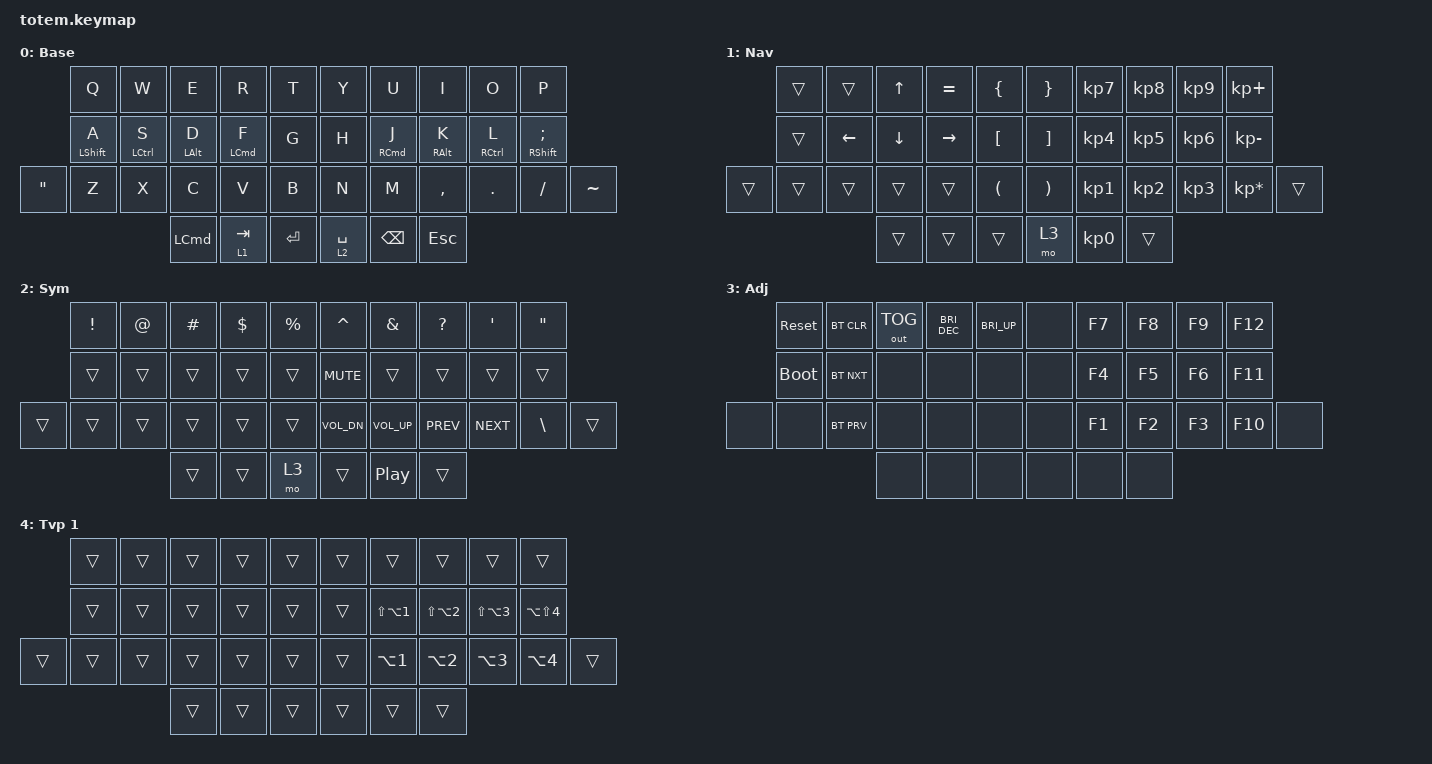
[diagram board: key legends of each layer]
//
//                                                        ▀▀▀▀▀     ▀▀▀▀▀          ▀▀█▀▀
//                                                        ▄▀▀▀▄  ▄  ▄▀▀▀▄  ▄  ▄▀▀▀▄  █  ▄▀▀▀▄
//                                                        █   █  █  █   █  █  █   █  █  █   █
//                                                         ▀▀▀   █   ▀▀▀   █   ▀▀▀   ▀   ▀▀▀
//                                                               █      ▄▄▄█▄▄▄    █   █
//                                                               ▀      █  █  █     █▄█
//                                                             ▀▀▀▀▀    █  █  █      ▀
//                                                                      ▀  ▀  ▀
//
// ▄▄▄▄▄▄▄▄▄▄▄▄▄▄▄▄▄▄▄▄▄▄▄▄▄▄▄▄▄▄▄▄▄▄▄▄▄▄▄▄▄▄▄▄▄▄▄▄▄▄▄▄▄▄▄▄▄▄▄▄▄▄▄▄▄▄▄▄▄▄▄▄▄▄▄▄▄▄▄▄▄▄▄▄▄▄▄▄▄▄▄▄▄▄▄▄▄▄▄▄▄▄▄▄▄▄▄▄▄▄▄▄▄▄▄▄▄▄▄▄▄▄▄▄▄▄▄▄▄▄▄▄▄▄▄▄▄▄▄▄▄▄▄▄▄▄▄▄▄

#include <behaviors.dtsi>
#include <dt-bindings/zmk/bt.h>
#include <dt-bindings/zmk/keys.h>
#include <dt-bindings/zmk/outputs.h>

#define BASE 0
#define NAV  1
#define SYM  2
#define ADJ  3
#define TVP1 4
#define TVP2 5

&mt {
    quick-tap-ms = <170>;
    global-quick-tap;
    flavor = "balanced";
    tapping-term-ms = <280>;
    require-prior-idle-ms = <150>;
};

/ {
    combos {
        compatible = "zmk,combos";

        combo_esc {
            timeout-ms = <50>;
            key-positions = <0 1>;
            bindings = <&kp ESC>;
        };

        combo_tvp {
            timeout-ms = <100>;
            key-positions = <11 12 13>;
            bindings = <&tog 4>;
        };
    };

    macros {
        gif: gif {
            label = "giphy";
            compatible = "zmk,behavior-macro";
            #binding-cells = <0>;
            bindings =
                <&macro_press>,
                <&kp LSHFT>,
                <&macro_tap>,
                <&kp N2>,
                <&macro_release>,
                <&kp LSHFT>,
                <&macro_tap>,
                <&kp G &kp I &kp F>;
        };
    };

    keymap {
        compatible = "zmk,keymap";

        // ▄▄▄▄▄▄▄▄▄▄▄▄▄▄▄▄▄▄▄▄▄▄▄▄▄▄▄▄▄▄▄▄▄▄▄▄▄▄▄▄▄▄▄▄▄▄▄▄▄▄▄▄▄▄▄▄▄▄▄▄▄▄▄▄▄▄▄▄▄▄▄▄▄▄▄▄▄▄▄▄▄▄▄▄▄▄▄▄▄▄▄▄▄▄▄▄▄▄▄▄▄▄▄▄▄▄▄▄▄▄▄▄▄▄▄▄▄▄▄▄▄▄▄▄▄▄▄▄▄▄▄▄▄▄▄▄▄▄▄▄▄▄▄▄▄▄▄▄▄

        base_layer {
            // ┏━━━━━━━━━━━━━━━━━━━━━━━━━━━━━━━━━━━━━━━┓

            label = "BASE";
            display-name = "Base";

            // ┗━━━━━━━━━━━━━━━━━━━━━━━━━━━━━━━━━━━━━━━┛
            //             ┏━━━━━━━━━━━┳━━━━━━━━━━━┳━━━━━━━━━━━┳━━━━━━━━━━━┳━━━━━━━━━━━┓   ┏━━━━━━━━━━━┳━━━━━━━━━━━┳━━━━━━━━━━━┳━━━━━━━━━━━┳━━━━━━━━━━━┓
            //             ┃     Q     ┃     W     ┃     F     ┃     P     ┃     G     ┃   ┃     J     ┃     L     ┃     U     ┃     Y     ┃     ;     ┃
            //             ┣━━━━━━━━━━━╋━━━━━━━━━━━╋━━━━━━━━━━━╋━━━━━━━━━━━╋━━━━━━━━━━━┫   ┣━━━━━━━━━━━╋━━━━━━━━━━━╋━━━━━━━━━━━╋━━━━━━━━━━━╋━━━━━━━━━━━┫
            //             ┃     A     ┃     R     ┃     S     ┃     T     ┃     D     ┃   ┃     H     ┃     N     ┃     E     ┃     I     ┃     O     ┃
            // ┏━━━━━━━━━━━╋━━━━━━━━━━━╋━━━━━━━━━━━╋━━━━━━━━━━━╋━━━━━━━━━━━╋━━━━━━━━━━━┫   ┣━━━━━━━━━━━╋━━━━━━━━━━━╋━━━━━━━━━━━╋━━━━━━━━━━━╋━━━━━━━━━━━╋━━━━━━━━━━━┓
            // ┃     Q     ┃     Z     ┃     X     ┃     C     ┃     V     ┃     B     ┃   ┃     K     ┃     M     ┃     ,     ┃     .     ┃     /     ┃     \     ┃
            // ┗━━━━━━━━━━━┻━━━━━━━━━━━┻━━━━━━━━━━━╋━━━━━━━━━━━╋━━━━━━━━━━━╋━━━━━━━━━━━┫   ┣━━━━━━━━━━━╋━━━━━━━━━━━╋━━━━━━━━━━━╋━━━━━━━━━━━┻━━━━━━━━━━━┻━━━━━━━━━━━┛
            //                                     ┃    DEL    ┃    TAB    ┃    SPC    ┃   ┃   ENTER   ┃           ┃   BSPC    ┃
            //                                     ┗━━━━━━━━━━━┻━━━━━━━━━━━┻━━━━━━━━━━━┛   ┗━━━━━━━━━━━┻━━━━━━━━━━━┻━━━━━━━━━━━┛

            bindings = <
                   &kp Q             &kp W               &kp E             &kp R               &kp T        &kp Y        &kp U                &kp I            &kp O                &kp P
                   &mt LEFT_SHIFT A  &mt LEFT_CONTROL S  &mt LEFT_ALT D    &mt LEFT_COMMAND F  &kp G        &kp H        &mt RIGHT_COMMAND J  &mt RIGHT_ALT K  &mt RIGHT_CONTROL L  &mt RIGHT_SHIFT SEMI
&kp DOUBLE_QUOTES  &kp Z             &kp X               &kp C             &kp V               &kp B        &kp N        &kp M                &kp COMMA        &kp DOT              &kp SLASH             &kp TILDE
                                                         &kp LEFT_COMMAND  &lt 1 TAB           &kp ENTER    &lt 2 SPACE  &kp BACKSPACE        &kp ESCAPE
            >;
        };

        // ▄▄▄▄▄▄▄▄▄▄▄▄▄▄▄▄▄▄▄▄▄▄▄▄▄▄▄▄▄▄▄▄▄▄▄▄▄▄▄▄▄▄▄▄▄▄▄▄▄▄▄▄▄▄▄▄▄▄▄▄▄▄▄▄▄▄▄▄▄▄▄▄▄▄▄▄▄▄▄▄▄▄▄▄▄▄▄▄▄▄▄▄▄▄▄▄▄▄▄▄▄▄▄▄▄▄▄▄▄▄▄▄▄▄▄▄▄▄▄▄▄▄▄▄▄▄▄▄▄▄▄▄▄▄▄▄▄▄▄▄▄▄▄▄▄▄▄▄▄

        nav_layer {
            // ┏━━━━━━━━━━━━━━━━━━━━━━━━━━━━━━━━━━━━━━━┓

            label = "NAVI";
            display-name = "Nav";

            // ┗━━━━━━━━━━━━━━━━━━━━━━━━━━━━━━━━━━━━━━━┛
            //             ┏━━━━━━━━━━━┳━━━━━━━━━━━┳━━━━━━━━━━━┳━━━━━━━━━━━┳━━━━━━━━━━━┓   ┏━━━━━━━━━━━┳━━━━━━━━━━━┳━━━━━━━━━━━┳━━━━━━━━━━━┳━━━━━━━━━━━┓
            //             ┃           ┃           ┃     UP    ┃           ┃     {     ┃   ┃     }     ┃     7     ┃     8     ┃     9     ┃     +     ┃
            //             ┣━━━━━━━━━━━╋━━━━━━━━━━━╋━━━━━━━━━━━╋━━━━━━━━━━━╋━━━━━━━━━━━┫   ┣━━━━━━━━━━━╋━━━━━━━━━━━╋━━━━━━━━━━━╋━━━━━━━━━━━╋━━━━━━━━━━━┫
            //             ┃   SHIFT   ┃   LEFT    ┃    DOWN   ┃   RIGHT   ┃     [     ┃   ┃     ]     ┃     4     ┃     5     ┃     6     ┃     -     ┃
            // ┏━━━━━━━━━━━╋━━━━━━━━━━━╋━━━━━━━━━━━╋━━━━━━━━━━━╋━━━━━━━━━━━╋━━━━━━━━━━━┫   ┣━━━━━━━━━━━╋━━━━━━━━━━━╋━━━━━━━━━━━╋━━━━━━━━━━━╋━━━━━━━━━━━╋━━━━━━━━━━━┓
            // ┃           ┃           ┃   P UP    ┃  C LOCK   ┃  P DOWN   ┃     (     ┃   ┃     )     ┃     1     ┃     2     ┃     3     ┃     *     ┃           ┃
            // ┗━━━━━━━━━━━┻━━━━━━━━━━━┻━━━━━━━━━━━╋━━━━━━━━━━━╋━━━━━━━━━━━╋━━━━━━━━━━━┫   ┣━━━━━━━━━━━╋━━━━━━━━━━━╋━━━━━━━━━━━╋━━━━━━━━━━━┻━━━━━━━━━━━┻━━━━━━━━━━━┛
            //                                     ┃           ┃    TAB    ┃    SPC    ┃   ┃    DEL    ┃     0     ┃           ┃
            //                                     ┗━━━━━━━━━━━┻━━━━━━━━━━━┻━━━━━━━━━━━┛   ┗━━━━━━━━━━━┻━━━━━━━━━━━┻━━━━━━━━━━━┛

            bindings = <
        &trans  &trans    &kp UP    &kp EQUAL  &kp LBRC    &kp RBRC  &kp KP_N7  &kp KP_N8  &kp KP_N9  &kp KP_PLUS
        &trans  &kp LEFT  &kp DOWN  &kp RIGHT  &kp LBKT    &kp RBKT  &kp KP_N4  &kp KP_N5  &kp KP_N6  &kp KP_MINUS
&trans  &trans  &trans    &trans    &trans     &kp LPAR    &kp RPAR  &kp KP_N1  &kp KP_N2  &kp KP_N3  &kp KP_MULTIPLY  &trans
                          &trans    &trans     &trans      &mo 3     &kp KP_N0  &trans
            >;
        };

        // ▄▄▄▄▄▄▄▄▄▄▄▄▄▄▄▄▄▄▄▄▄▄▄▄▄▄▄▄▄▄▄▄▄▄▄▄▄▄▄▄▄▄▄▄▄▄▄▄▄▄▄▄▄▄▄▄▄▄▄▄▄▄▄▄▄▄▄▄▄▄▄▄▄▄▄▄▄▄▄▄▄▄▄▄▄▄▄▄▄▄▄▄▄▄▄▄▄▄▄▄▄▄▄▄▄▄▄▄▄▄▄▄▄▄▄▄▄▄▄▄▄▄▄▄▄▄▄▄▄▄▄▄▄▄▄▄▄▄▄▄▄▄▄▄▄▄▄▄▄

        sim_layer {
            // ┏━━━━━━━━━━━━━━━━━━━━━━━━━━━━━━━━━━━━━━━┓

            label = "SYM";
            display-name = "Sym";

            // ┗━━━━━━━━━━━━━━━━━━━━━━━━━━━━━━━━━━━━━━━┛
            //             ┏━━━━━━━━━━━┳━━━━━━━━━━━┳━━━━━━━━━━━┳━━━━━━━━━━━┳━━━━━━━━━━━┓   ┏━━━━━━━━━━━┳━━━━━━━━━━━┳━━━━━━━━━━━┳━━━━━━━━━━━┳━━━━━━━━━━━┓
            //             ┃     !     ┃     @     ┃     #     ┃     $     ┃     %     ┃   ┃     ˆ     ┃     &     ┃     Ü     ┃     '     ┃     "     ┃
            //             ┣━━━━━━━━━━━╋━━━━━━━━━━━╋━━━━━━━━━━━╋━━━━━━━━━━━╋━━━━━━━━━━━┫   ┣━━━━━━━━━━━╋━━━━━━━━━━━╋━━━━━━━━━━━╋━━━━━━━━━━━╋━━━━━━━━━━━┫
            //             ┃     Ä     ┃           ┃    SZ     ┃           ┃           ┃   ┃   MUTE    ┃   YEN     ┃   EURO    ┃  POUND    ┃     Ö     ┃
            // ┏━━━━━━━━━━━╋━━━━━━━━━━━╋━━━━━━━━━━━╋━━━━━━━━━━━╋━━━━━━━━━━━╋━━━━━━━━━━━┫   ┣━━━━━━━━━━━╋━━━━━━━━━━━╋━━━━━━━━━━━╋━━━━━━━━━━━╋━━━━━━━━━━━╋━━━━━━━━━━━┓
            // ┃           ┃  EMAIL1   ┃  EMAIL2   ┃           ┃           ┃           ┃   ┃   VOL-    ┃   VOL+    ┃   LAST    ┃   NEXT    ┃     \     ┃           ┃
            // ┗━━━━━━━━━━━┻━━━━━━━━━━━┻━━━━━━━━━━━╋━━━━━━━━━━━╋━━━━━━━━━━━╋━━━━━━━━━━━┫   ┣━━━━━━━━━━━╋━━━━━━━━━━━╋━━━━━━━━━━━╋━━━━━━━━━━━┻━━━━━━━━━━━┻━━━━━━━━━━━┛
            //                                     ┃           ┃    GIF    ┃    ADJ    ┃   ┃           ┃           ┃           ┃
            //                                     ┗━━━━━━━━━━━┻━━━━━━━━━━━┻━━━━━━━━━━━┛   ┗━━━━━━━━━━━┻━━━━━━━━━━━┻━━━━━━━━━━━┛

            bindings = <
        &kp EXCL  &kp AT  &kp HASH  &kp DLLR  &kp PRCNT    &kp CARET     &kp AMPS      &kp QUESTION  &kp SQT     &kp DQT
        &trans    &trans  &trans    &trans    &trans       &kp C_MUTE    &trans        &trans        &trans      &trans
&trans  &trans    &trans  &trans    &trans    &trans       &kp C_VOL_DN  &kp C_VOL_UP  &kp C_PREV    &kp C_NEXT  &kp BSLH  &trans
                          &trans    &trans    &mo 3        &trans        &kp C_PP      &trans
            >;
        };

        // ▄▄▄▄▄▄▄▄▄▄▄▄▄▄▄▄▄▄▄▄▄▄▄▄▄▄▄▄▄▄▄▄▄▄▄▄▄▄▄▄▄▄▄▄▄▄▄▄▄▄▄▄▄▄▄▄▄▄▄▄▄▄▄▄▄▄▄▄▄▄▄▄▄▄▄▄▄▄▄▄▄▄▄▄▄▄▄▄▄▄▄▄▄▄▄▄▄▄▄▄▄▄▄▄▄▄▄▄▄▄▄▄▄▄▄▄▄▄▄▄▄▄▄▄▄▄▄▄▄▄▄▄▄▄▄▄▄▄▄▄▄▄▄▄▄▄▄▄▄

        adjust_layer {
            // ┏━━━━━━━━━━━━━━━━━━━━━━━━━━━━━━━━━━━━━━━┓

            label = "ADJ";
            display-name = "Adj";

            // ┗━━━━━━━━━━━━━━━━━━━━━━━━━━━━━━━━━━━━━━━┛
            //             ┏━━━━━━━━━━━┳━━━━━━━━━━━┳━━━━━━━━━━━┳━━━━━━━━━━━┳━━━━━━━━━━━┓   ┏━━━━━━━━━━━┳━━━━━━━━━━━┳━━━━━━━━━━━┳━━━━━━━━━━━┳━━━━━━━━━━━┓
            //             ┃   RESET   ┃ BT CLEAR  ┃  OUT TOG  ┃           ┃           ┃   ┃           ┃    F7     ┃    F8     ┃    F9     ┃    F12    ┃
            //             ┣━━━━━━━━━━━╋━━━━━━━━━━━╋━━━━━━━━━━━╋━━━━━━━━━━━╋━━━━━━━━━━━┫   ┣━━━━━━━━━━━╋━━━━━━━━━━━╋━━━━━━━━━━━╋━━━━━━━━━━━╋━━━━━━━━━━━┫
            //             ┃ BOOTLOAD  ┃ BT NEXT   ┃           ┃           ┃           ┃   ┃           ┃    F4     ┃    F5     ┃    F6     ┃    F11    ┃
            // ┏━━━━━━━━━━━╋━━━━━━━━━━━╋━━━━━━━━━━━╋━━━━━━━━━━━╋━━━━━━━━━━━╋━━━━━━━━━━━┫   ┣━━━━━━━━━━━╋━━━━━━━━━━━╋━━━━━━━━━━━╋━━━━━━━━━━━╋━━━━━━━━━━━╋━━━━━━━━━━━┓
            // ┃           ┃           ┃ BT PREV   ┃           ┃           ┃           ┃   ┃           ┃    F1     ┃    F2     ┃    F3     ┃    F10    ┃           ┃
            // ┗━━━━━━━━━━━┻━━━━━━━━━━━┻━━━━━━━━━━━╋━━━━━━━━━━━╋━━━━━━━━━━━╋━━━━━━━━━━━┫   ┣━━━━━━━━━━━╋━━━━━━━━━━━╋━━━━━━━━━━━╋━━━━━━━━━━━┻━━━━━━━━━━━┻━━━━━━━━━━━┛
            //                                     ┃           ┃           ┃           ┃   ┃           ┃           ┃           ┃
            //                                     ┗━━━━━━━━━━━┻━━━━━━━━━━━┻━━━━━━━━━━━┛   ┗━━━━━━━━━━━┻━━━━━━━━━━━┻━━━━━━━━━━━┛

            bindings = <
       &sys_reset   &bt BT_CLR  &out OUT_TOG  &kp C_BRI_DEC  &kp C_BRI_UP    &none  &kp F7  &kp F8  &kp F9  &kp F12
       &bootloader  &bt BT_NXT  &none         &none          &none           &none  &kp F4  &kp F5  &kp F6  &kp F11
&none  &none        &bt BT_PRV  &none         &none          &none           &none  &kp F1  &kp F2  &kp F3  &kp F10  &none
                                &none         &none          &none           &none  &none   &none
            >;
        };

        // ▄▄▄▄▄▄▄▄▄▄▄▄▄▄▄▄▄▄▄▄▄▄▄▄▄▄▄▄▄▄▄▄▄▄▄▄▄▄▄▄▄▄▄▄▄▄▄▄▄▄▄▄▄▄▄▄▄▄▄▄▄▄▄▄▄▄▄▄▄▄▄▄▄▄▄▄▄▄▄▄▄▄▄▄▄▄▄▄▄▄▄▄▄▄▄▄▄▄▄▄▄▄▄▄▄▄▄▄▄▄▄▄▄▄▄▄▄▄▄▄▄▄▄▄▄▄▄▄▄▄▄▄▄▄▄▄▄▄▄▄▄▄▄▄▄▄▄▄▄

        tvp1_layer {
            // ┏━━━━━━━━━━━━━━━━━━━━━━━━━━━━━━━━━━━━━━━┓

            label = "TVP 1";
            display-name = "Tvp 1";

            // ┗━━━━━━━━━━━━━━━━━━━━━━━━━━━━━━━━━━━━━━━┛
            //             ┏━━━━━━━━━━━┳━━━━━━━━━━━┳━━━━━━━━━━━┳━━━━━━━━━━━┳━━━━━━━━━━━┓   ┏━━━━━━━━━━━┳━━━━━━━━━━━┳━━━━━━━━━━━┳━━━━━━━━━━━┳━━━━━━━━━━━┓
            //             ┃ NEXT FILE ┃ MARK IN   ┃ ROTATE    ┃ MARK OUT  ┃ SHOW SNAP ┃   ┃           ┃           ┃           ┃           ┃           ┃
            //             ┣━━━━━━━━━━━╋━━━━━━━━━━━╋━━━━━━━━━━━╋━━━━━━━━━━━╋━━━━━━━━━━━┫   ┣━━━━━━━━━━━╋━━━━━━━━━━━╋━━━━━━━━━━━╋━━━━━━━━━━━╋━━━━━━━━━━━┫
            //             ┃ TVP II    ┃ LEFT      ┃ PAN       ┃ RIGHT     ┃ PLAY/FLIP ┃   ┃           ┃           ┃           ┃           ┃           ┃
            // ┏━━━━━━━━━━━╋━━━━━━━━━━━╋━━━━━━━━━━━╋━━━━━━━━━━━╋━━━━━━━━━━━╋━━━━━━━━━━━┫   ┣━━━━━━━━━━━╋━━━━━━━━━━━╋━━━━━━━━━━━╋━━━━━━━━━━━╋━━━━━━━━━━━╋━━━━━━━━━━━┓
            // ┃ FULLSCR   ┃ SHIFT     ┃ COPY      ┃ DELETE    ┃ PASTE     ┃ IMG MARK  ┃   ┃           ┃           ┃           ┃           ┃           ┃           ┃
            // ┗━━━━━━━━━━━┻━━━━━━━━━━━┻━━━━━━━━━━━╋━━━━━━━━━━━╋━━━━━━━━━━━╋━━━━━━━━━━━┫   ┣━━━━━━━━━━━╋━━━━━━━━━━━╋━━━━━━━━━━━╋━━━━━━━━━━━┻━━━━━━━━━━━┻━━━━━━━━━━━┛
            //                                     ┃           ┃ UNDO/SAVE ┃  SEL/MOV  ┃   ┃           ┃           ┃           ┃
            //                                     ┗━━━━━━━━━━━┻━━━━━━━━━━━┻━━━━━━━━━━━┛   ┗━━━━━━━━━━━┻━━━━━━━━━━━┻━━━━━━━━━━━┛

            bindings = <
        &trans  &trans  &trans  &trans  &trans    &trans  &trans                &trans                &trans                &trans
        &trans  &trans  &trans  &trans  &trans    &trans  &kp LS(LA(NUMBER_1))  &kp LS(LA(NUMBER_2))  &kp LS(LA(NUMBER_3))  &kp LA(LS(NUMBER_4))
&trans  &trans  &trans  &trans  &trans  &trans    &trans  &kp LA(NUMBER_1)      &kp LA(NUMBER_2)      &kp LA(NUMBER_3)      &kp LA(NUMBER_4)      &trans
                        &trans  &trans  &trans    &trans  &trans                &trans
            >;
        };

        // ▄▄▄▄▄▄▄▄▄▄▄▄▄▄▄▄▄▄▄▄▄▄▄▄▄▄▄▄▄▄▄▄▄▄▄▄▄▄▄▄▄▄▄▄▄▄▄▄▄▄▄▄▄▄▄▄▄▄▄▄▄▄▄▄▄▄▄▄▄▄▄▄▄▄▄▄▄▄▄▄▄▄▄▄▄▄▄▄▄▄▄▄▄▄▄▄▄▄▄▄▄▄▄▄▄▄▄▄▄▄▄▄▄▄▄▄▄▄▄▄▄▄▄▄▄▄▄▄▄▄▄▄▄▄▄▄▄▄▄▄▄▄▄▄▄▄▄▄▄
    };
};
